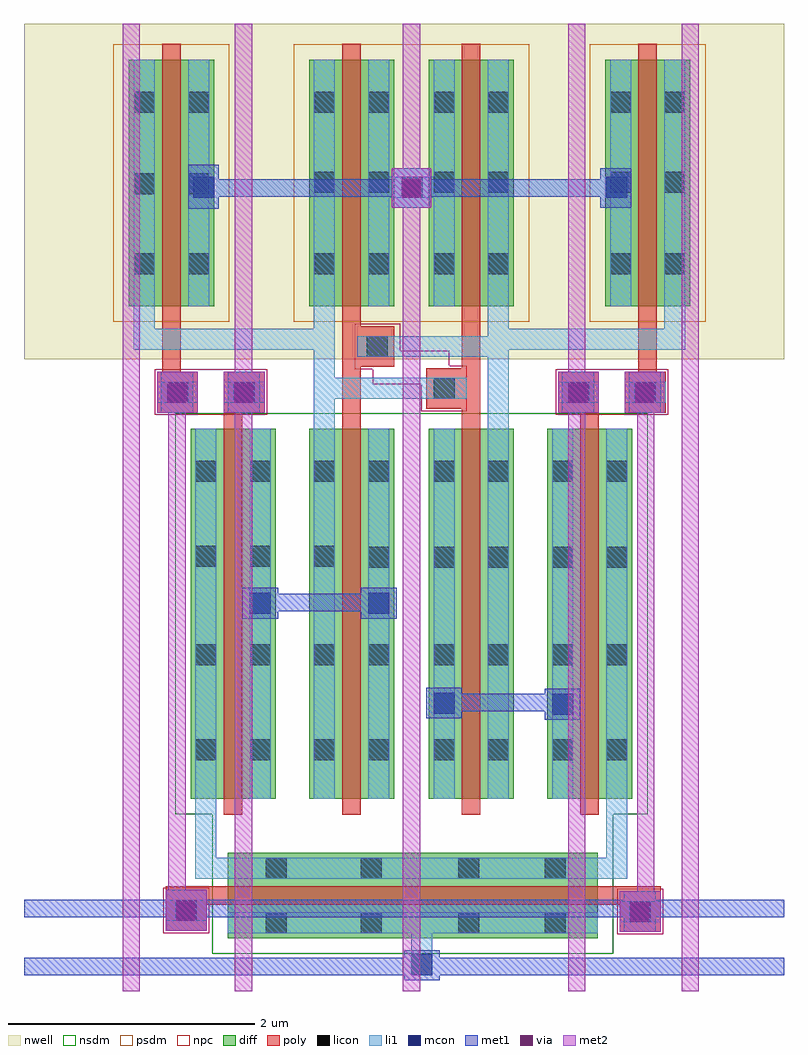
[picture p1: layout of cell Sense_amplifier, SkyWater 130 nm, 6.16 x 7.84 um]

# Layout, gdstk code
import gdstk
lib = gdstk.Library(unit=1e-6, precision=1e-09)
def R(c, l, rs):  # rectangles x0, y0, x1, y1
    for r in rs: c.add(gdstk.rectangle(r[:2], r[2:], *l))
nwell = (64, 20)
diff = (65, 20)
poly = (66, 20)
licon = (66, 44)
li1 = (67, 20)
mcon = (67, 44)
met1 = (68, 20)
via = (68, 44)
met2 = (69, 20)
nsdm = (93, 44)
psdm = (94, 20)
npc = (95, 20)

sense_amplifier = lib.new_cell('Sense_amplifier')
R(sense_amplifier, nwell, [(17.72,-3.62,23.88,-0.9)])
R(sense_amplifier, diff, [(19.37,-8.31,22.37,-7.62), (19.07,-7.18,19.76,-4.18), (20.03,-7.18,20.72,-4.18), (21,-7.18,21.69,-4.18), (21.96,-7.18,22.65,-4.18), (18.57,-3.19,19.26,-1.19), (20.03,-3.19,20.72,-1.19), (21,-3.19,21.69,-1.19), (22.43,-3.19,23.12,-1.19)])
R(sense_amplifier, poly, [(22.55,-8.26,22.88,-8.04), (18.87,-8.25,19.2,-8.04), (18.87,-8.04,22.88,-7.89), (19.34,-7.31,19.49,-4.05), (20.3,-7.31,20.45,-3.68), (21.27,-7.31,21.42,-4.02), (22.23,-7.31,22.38,-4.05), (18.8,-4.05,19.13,-3.72), (19.34,-4.05,19.67,-3.72), (22.05,-4.05,22.38,-3.72), (22.59,-4.05,22.92,-3.72), (20.98,-4.02,21.42,-3.69), (18.84,-3.72,18.99,-1.06), (22.7,-3.72,22.85,-1.06), (21.27,-3.69,21.42,-1.06), (20.3,-3.68,20.72,-3.35), (20.3,-3.35,20.45,-1.06)])
R(sense_amplifier, licon, [(19.68,-8.27,19.85,-8.1), (20.45,-8.27,20.62,-8.1), (21.24,-8.27,21.41,-8.1), (21.94,-8.27,22.11,-8.1), (22.63,-8.18,22.8,-8.01), (18.95,-8.17,19.12,-8), (19.68,-7.83,19.85,-7.66), (20.45,-7.83,20.62,-7.66), (21.24,-7.83,21.41,-7.66), (21.94,-7.83,22.11,-7.66), (19.11,-6.87,19.28,-6.7), (19.55,-6.87,19.72,-6.7), (20.07,-6.87,20.24,-6.7), (20.51,-6.87,20.68,-6.7), (21.04,-6.87,21.21,-6.7), (21.48,-6.87,21.65,-6.7), (22,-6.87,22.17,-6.7), (22.44,-6.87,22.61,-6.7), (19.11,-6.1,19.28,-5.93), (19.55,-6.1,19.72,-5.93), (20.07,-6.1,20.24,-5.93), (20.51,-6.1,20.68,-5.93), (21.04,-6.1,21.21,-5.93), (21.48,-6.1,21.65,-5.93), (22,-6.1,22.17,-5.93), (22.44,-6.1,22.61,-5.93), (20.51,-5.31,20.68,-5.14), (21.04,-5.31,21.21,-5.14), (21.48,-5.31,21.65,-5.14), (22,-5.31,22.17,-5.14), (22.44,-5.31,22.61,-5.14), (19.11,-5.3,19.28,-5.13), (19.55,-5.3,19.72,-5.13), (20.07,-5.3,20.24,-5.13), (19.11,-4.61,19.28,-4.44), (19.55,-4.61,19.72,-4.44), (20.07,-4.61,20.24,-4.44), (20.51,-4.61,20.68,-4.44), (21.04,-4.61,21.21,-4.44), (21.48,-4.61,21.65,-4.44), (22,-4.61,22.17,-4.44), (22.44,-4.61,22.61,-4.44), (18.88,-3.97,19.05,-3.8), (19.42,-3.97,19.59,-3.8), (22.13,-3.97,22.3,-3.8), (22.67,-3.97,22.84,-3.8), (21.04,-3.94,21.21,-3.77), (20.5,-3.6,20.67,-3.43), (18.61,-2.93,18.78,-2.76), (19.05,-2.93,19.22,-2.76), (20.07,-2.93,20.24,-2.76), (20.51,-2.93,20.68,-2.76), (21.04,-2.93,21.21,-2.76), (21.48,-2.93,21.65,-2.76), (22.47,-2.93,22.64,-2.76), (22.91,-2.93,23.08,-2.76), (18.61,-2.28,18.78,-2.11), (19.05,-2.28,19.22,-2.11), (20.07,-2.27,20.24,-2.1), (20.51,-2.27,20.68,-2.1), (21.04,-2.27,21.21,-2.1), (21.48,-2.27,21.65,-2.1), (22.47,-2.27,22.64,-2.1), (22.91,-2.27,23.08,-2.1), (18.61,-1.62,18.78,-1.45), (19.05,-1.62,19.22,-1.45), (20.07,-1.62,20.24,-1.45), (20.51,-1.62,20.68,-1.45), (21.04,-1.62,21.21,-1.45), (21.48,-1.62,21.65,-1.45), (22.47,-1.62,22.64,-1.45), (22.91,-1.62,23.08,-1.45)])
R(sense_amplifier, li1, [(20.86,-8.61,21.03,-8.27), (19.37,-8.27,22.37,-8.1), (22.55,-8.18,22.88,-8.01), (18.87,-8.17,19.2,-8), (19.11,-7.83,22.61,-7.66), (19.11,-7.66,19.28,-4.18), (22.44,-7.66,22.61,-4.18), (19.55,-7.18,19.72,-4.18), (20.07,-7.18,20.24,-3.94), (20.51,-7.18,20.68,-4.18), (21.04,-7.18,21.21,-4.18), (21.48,-7.18,21.65,-3.6), (22,-7.18,22.17,-4.18), (18.8,-3.97,19.13,-3.8), (19.34,-3.97,19.67,-3.8), (22.05,-3.97,22.38,-3.8), (22.59,-3.97,22.92,-3.8), (20.07,-3.94,21.31,-3.77), (20.07,-3.77,20.24,-3.54), (20.42,-3.6,21.65,-3.54), (18.61,-3.54,20.24,-3.37), (20.42,-3.54,23.08,-3.43), (21.48,-3.43,23.08,-3.37), (18.61,-3.37,18.78,-1.19), (20.07,-3.37,20.24,-1.19), (21.48,-3.37,21.65,-1.19), (22.91,-3.37,23.08,-1.19), (19.05,-3.19,19.22,-2.31), (20.51,-3.19,20.68,-2.31), (21.04,-3.19,21.21,-2.31), (22.47,-3.19,22.64,-2.31), (19.05,-2.31,19.26,-2.14), (20.51,-2.31,21.21,-2.14), (22.43,-2.31,22.64,-2.14), (19.05,-2.14,19.22,-1.19), (20.51,-2.14,20.68,-1.19), (21.04,-2.14,21.21,-1.19), (22.47,-2.14,22.64,-1.19)])
R(sense_amplifier, mcon, [(20.86,-8.61,21.03,-8.44), (22.63,-8.18,22.8,-8.01), (18.95,-8.17,19.12,-8), (22,-6.5,22.17,-6.33), (21.04,-6.49,21.21,-6.32), (19.55,-5.68,19.72,-5.51), (20.51,-5.68,20.68,-5.51), (18.88,-3.97,19.05,-3.8), (19.42,-3.97,19.59,-3.8), (22.13,-3.97,22.3,-3.8), (22.67,-3.97,22.84,-3.8), (19.09,-2.31,19.26,-2.14), (20.78,-2.31,20.95,-2.14), (22.44,-2.31,22.61,-2.14)])
R(sense_amplifier, met1, [(20.8,-8.65,21.09,-8.61), (17.72,-8.61,23.88,-8.47), (20.8,-8.47,21.09,-8.41), (22.58,-8.26,22.84,-8.14), (18.87,-8.25,19.2,-8.14), (17.72,-8.14,23.88,-8), (18.87,-8,19.2,-7.92), (22.58,-8,22.84,-7.93), (21.94,-6.54,22.23,-6.47), (20.98,-6.53,21.27,-6.47), (20.98,-6.47,22.23,-6.33), (20.98,-6.33,21.27,-6.28), (21.94,-6.33,22.23,-6.29), (19.49,-5.72,19.78,-5.66), (20.45,-5.72,20.74,-5.66), (19.49,-5.66,20.74,-5.52), (19.49,-5.52,19.78,-5.47), (20.45,-5.52,20.74,-5.47), (18.83,-4.05,19.09,-3.72), (19.37,-4.05,19.63,-3.72), (22.08,-4.05,22.34,-3.72), (22.62,-4.05,22.88,-3.72), (19.05,-2.4,19.3,-2.3), (20.7,-2.39,21.02,-2.3), (22.39,-2.39,22.64,-2.3), (19.05,-2.3,22.64,-2.16), (19.05,-2.16,19.3,-2.04), (20.7,-2.16,21.02,-2.07), (22.39,-2.16,22.64,-2.07)])
R(sense_amplifier, via, [(22.635,-8.175,22.785,-8.025), (18.955,-8.165,19.105,-8.015), (18.885,-3.965,19.035,-3.815), (19.425,-3.965,19.575,-3.815), (22.135,-3.965,22.285,-3.815), (22.675,-3.965,22.825,-3.815), (20.785,-2.305,20.935,-2.155)])
R(sense_amplifier, met2, [(18.52,-8.74,18.66,-0.9), (19.43,-8.74,19.57,-4.05), (20.79,-8.74,20.93,-2.39), (22.13,-8.74,22.27,-4.05), (23.05,-8.74,23.19,-0.9), (22.55,-8.26,22.88,-7.93), (18.87,-8.25,19.2,-7.92), (22.69,-7.93,22.83,-4.05), (18.89,-7.92,19.03,-4.05), (18.8,-4.05,19.13,-3.72), (19.34,-4.05,19.67,-3.72), (22.05,-4.05,22.38,-3.72), (22.59,-4.05,22.91,-3.72), (19.43,-3.72,19.57,-0.9), (22.13,-3.72,22.27,-0.9), (20.7,-2.39,21.02,-2.07), (20.79,-2.07,20.93,-0.9)])
R(sense_amplifier, nsdm, [(19.245,-8.435,22.495,-7.305), (18.945,-7.305,22.775,-4.055)])
R(sense_amplifier, psdm, [(18.445,-3.315,19.385,-1.065), (19.905,-3.315,21.815,-1.065), (22.305,-3.315,23.245,-1.065)])
R(sense_amplifier, npc, [(22.53,-8.28,22.9,-7.91), (18.85,-8.27,19.22,-7.9), (18.78,-4.07,19.69,-3.7), (22.03,-4.07,22.94,-3.7), (20.94,-4.04,21.31,-3.82), (20.545,-3.82,21.31,-3.7), (20.4,-3.7,21.31,-3.67), (20.4,-3.67,21.165,-3.55), (20.4,-3.55,20.77,-3.33)])

lib.write_gds('Sense_amplifier.gds')
